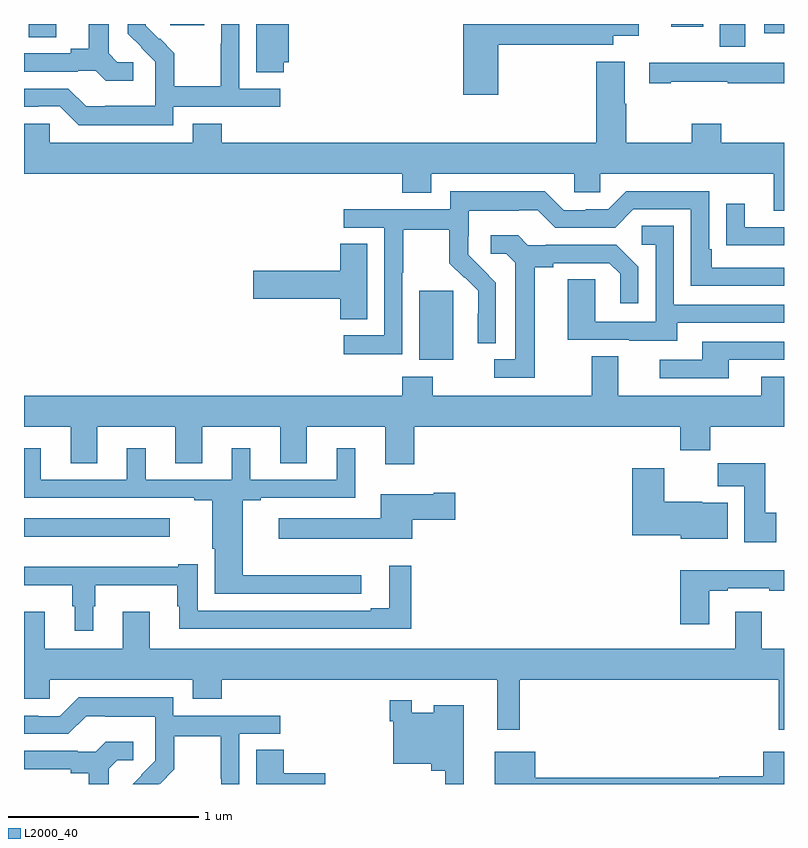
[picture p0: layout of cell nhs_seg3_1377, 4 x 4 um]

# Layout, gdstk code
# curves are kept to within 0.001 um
import gdstk
lib = gdstk.Library(unit=1e-6, precision=1e-09)
def R(c, l, rs):  # rectangles x0, y0, x1, y1
    for r in rs: c.add(gdstk.rectangle(r[:2], r[2:], *l))
def P(c, l, *ps):  # polygons
    for p in ps: c.add(gdstk.Polygon(p, *l))
L2000_40 = (2000, 40)

nhs_seg3_1377 = lib.new_cell('nhs_seg3_1377')
R(nhs_seg3_1377, L2000_40, [(183,669.701,183.766,669.798), (185.081,670.634,185.26,670.995), (186.662,672.28,186.796,672.4), (183.024,672.331,183.169,672.4), (186.896,672.351,187,672.4), (186.407,672.386,186.574,672.4), (183.77,672.393,183.949,672.4)])
P(nhs_seg3_1377, L2000_40, [(184.367,672.198),(184.394,672.198),(184.394,672.4),(184.223,672.4),(184.223,672.145),(184.367,672.145)],
  [(185.495,672.292),(186.102,672.292),(186.102,672.338),(186.235,672.338),(186.235,672.4),(185.312,672.4),(185.312,672.027),(185.495,672.027)],
  [(183.786,671.964),(184.348,671.964),(184.348,672.06),(184.134,672.06),(184.134,672.4),(184.038,672.4),(184.038,672.296),(184.036,672.296),(184.036,672.073),(183.791,672.073),(183.791,672.247),(183.714,672.324),(183.711,672.321),(183.641,672.392),(183.641,672.4),(183.546,672.4),(183.546,672.35),(183.692,672.202),(183.692,672.105),(183.69,672.105),(183.69,671.971),(183.427,671.971),(183.427,671.967),(183.327,671.967),(183.234,672.06),(183,672.06),(183,671.964),(183.074,671.964),(183.074,671.967),(183.189,671.967),(183.289,671.867),(183.786,671.867)],
  [(183.574,672.198),(183.492,672.198),(183.445,672.245),(183.445,672.4),(183.341,672.4),(183.341,672.269),(183.245,672.269),(183.245,672.246),(183,672.246),(183,672.15),(183.284,672.15),(183.284,672.153),(183.378,672.153),(183.43,672.101),(183.574,672.101)],
  [(187,671.776),(186.669,671.776),(186.669,671.875),(186.514,671.875),(186.514,671.776),(186.171,671.776),(186.171,671.981),(186.163,671.981),(186.163,672.202),(186.011,672.202),(186.011,671.776),(184.04,671.776),(184.04,671.875),(183.887,671.875),(183.887,671.776),(183.135,671.776),(183.135,671.874),(183,671.874),(183,671.612),(184.991,671.612),(184.991,671.513),(185.143,671.513),(185.143,671.612),(185.895,671.612),(185.895,671.514),(186.033,671.514),(186.033,671.612),(186.947,671.612),(186.947,671.418),(187,671.418)],
  [(186.403,672.097),(186.703,672.097),(186.703,672.087),(187,672.087),(187,672.196),(186.9,672.196),(186.9,672.195),(186.566,672.195),(186.566,672.197),(186.291,672.197),(186.291,672.087),(186.403,672.087)],
  [(184.992,671.092),(184.995,671.092),(184.995,671.316),(185.239,671.316),(185.239,671.141),(185.316,671.064),(185.319,671.067),(185.39,670.997),(185.39,670.874),(185.388,670.874),(185.388,670.72),(185.484,670.72),(185.484,671.038),(185.338,671.186),(185.338,671.283),(185.34,671.283),(185.34,671.417),(185.603,671.417),(185.603,671.421),(185.703,671.421),(185.796,671.328),(186.111,671.328),(186.207,671.424),(186.51,671.424),(186.51,671.022),(187,671.022),(187,671.118),(186.619,671.118),(186.619,671.215),(186.606,671.215),(186.606,671.52),(186.171,671.52),(186.075,671.424),(185.957,671.424),(185.957,671.421),(185.841,671.421),(185.741,671.521),(185.244,671.521),(185.244,671.424),(184.683,671.424),(184.683,671.328),(184.896,671.328),(184.896,670.761),(184.683,670.761),(184.683,670.663),(184.992,670.663)],
  [(187,671.331),(186.793,671.331),(186.793,671.455),(186.697,671.455),(186.697,671.236),(186.799,671.236),(186.799,671.235),(187,671.235)],
  [(186.439,670.827),(187,670.827),(187,670.923),(186.42,670.923),(186.42,671.339),(186.252,671.339),(186.252,671.238),(186.324,671.238),(186.324,670.833),(186.006,670.833),(186.006,671.057),(185.861,671.057),(185.861,670.737),(186.185,670.737),(186.185,670.733),(186.439,670.733)],
  [(185.689,671.12),(185.785,671.12),(185.785,671.142),(186.08,671.142),(186.137,671.085),(186.137,670.929),(186.234,670.929),(186.234,671.122),(186.118,671.238),(185.746,671.238),(185.746,671.235),(185.652,671.235),(185.6,671.287),(185.457,671.287),(185.457,671.19),(185.538,671.19),(185.585,671.143),(185.585,670.635),(185.475,670.635),(185.475,670.539),(185.689,670.539)],
  [(184.807,671.243),(184.664,671.243),(184.664,671.102),(184.206,671.102),(184.206,670.955),(184.664,670.955),(184.664,670.846),(184.807,670.846)],
  [(186.709,670.632),(187,670.632),(187,670.728),(186.569,670.728),(186.569,670.632),(186.345,670.632),(186.345,670.536),(186.709,670.536)],
  [(185.054,670.28),(186.455,670.28),(186.455,670.156),(186.611,670.156),(186.611,670.28),(187,670.28),(187,670.543),(186.881,670.543),(186.881,670.444),(186.127,670.444),(186.127,670.652),(185.987,670.652),(185.987,670.444),(185.151,670.444),(185.151,670.543),(184.991,670.543),(184.991,670.444),(183,670.444),(183,670.28),(183.245,670.28),(183.245,670.087),(183.385,670.087),(183.385,670.28),(183.797,670.28),(183.797,670.087),(183.937,670.087),(183.937,670.28),(184.349,670.28),(184.349,670.087),(184.489,670.087),(184.489,670.28),(184.901,670.28),(184.901,670.083),(185.054,670.083)],
  [(184.774,669.5),(184.15,669.5),(184.15,669.894),(184.246,669.894),(184.246,669.906),(184.744,669.906),(184.744,670.168),(184.646,670.168),(184.646,670.002),(184.192,670.002),(184.192,670.168),(184.094,670.168),(184.094,670.002),(183.64,670.002),(183.64,670.168),(183.542,670.168),(183.542,670.002),(183.088,670.002),(183.088,670.168),(183,670.168),(183,669.906),(183.896,669.906),(183.896,669.894),(183.992,669.894),(183.992,669.639),(184.004,669.639),(184.004,669.402),(184.774,669.402)],
  [(186.958,669.828),(186.901,669.828),(186.901,670.087),(186.652,670.087),(186.652,669.968),(186.791,669.968),(186.791,669.672),(186.958,669.672)],
  [(186.703,669.88),(186.57,669.88),(186.57,669.886),(186.37,669.886),(186.37,670.063),(186.2,670.063),(186.2,669.71),(186.456,669.71),(186.456,669.692),(186.703,669.692)],
  [(185.044,669.791),(185.269,669.791),(185.269,669.933),(185.156,669.933),(185.156,669.925),(184.877,669.925),(184.877,669.799),(184.341,669.799),(184.341,669.692),(185.044,669.692)],
  [(183.364,669.335),(183.376,669.335),(183.376,669.446),(183.807,669.446),(183.807,669.335),(183.818,669.335),(183.818,669.216),(185.039,669.216),(185.039,669.55),(184.922,669.55),(184.922,669.325),(184.826,669.325),(184.826,669.312),(183.915,669.312),(183.915,669.556),(183.812,669.556),(183.812,669.544),(183,669.544),(183,669.446),(183.255,669.446),(183.255,669.335),(183.266,669.335),(183.266,669.207),(183.364,669.207)],
  [(186.607,669.417),(186.703,669.417),(186.703,669.429),(186.923,669.429),(186.923,669.417),(187,669.417),(187,669.526),(186.455,669.526),(186.455,669.24),(186.607,669.24)],
  [(185.609,668.948),(186.973,668.948),(186.973,668.685),(187,668.685),(187,669.112),(186.883,669.112),(186.883,669.307),(186.743,669.307),(186.743,669.112),(183.661,669.112),(183.661,669.307),(183.521,669.307),(183.521,669.112),(183.109,669.112),(183.109,669.307),(183,669.307),(183,668.85),(183.135,668.85),(183.135,668.948),(183.887,668.948),(183.887,668.849),(184.04,668.849),(184.04,668.948),(185.492,668.948),(185.492,668.685),(185.609,668.685)],
  [(183.711,668.403),(183.714,668.4),(183.791,668.477),(183.791,668.652),(184.036,668.652),(184.036,668.428),(184.038,668.428),(184.038,668.4),(184.134,668.4),(184.134,668.664),(184.348,668.664),(184.348,668.76),(183.786,668.76),(183.786,668.857),(183.289,668.857),(183.189,668.757),(183.074,668.757),(183.074,668.76),(183,668.76),(183,668.664),(183.234,668.664),(183.327,668.757),(183.427,668.757),(183.427,668.753),(183.69,668.753),(183.69,668.619),(183.692,668.619),(183.692,668.522),(183.572,668.4),(183.708,668.4)],
  [(185.314,668.815),(185.156,668.815),(185.156,668.776),(185.04,668.776),(185.04,668.842),(184.924,668.842),(184.924,668.729),(184.944,668.729),(184.944,668.507),(185.144,668.507),(185.144,668.471),(185.217,668.471),(185.217,668.4),(185.314,668.4)],
  [(183.445,668.479),(183.492,668.526),(183.574,668.526),(183.574,668.623),(183.43,668.623),(183.378,668.571),(183.284,668.571),(183.284,668.574),(183,668.574),(183,668.478),(183.245,668.478),(183.245,668.456),(183.341,668.456),(183.341,668.4),(183.445,668.4)],
  [(184.585,668.456),(184.367,668.456),(184.367,668.579),(184.223,668.579),(184.223,668.4),(184.585,668.4)],
  [(187,668.569),(186.89,668.569),(186.89,668.44),(186.66,668.44),(186.66,668.432),(185.692,668.432),(185.692,668.569),(185.477,668.569),(185.477,668.4),(187,668.4)])

lib.write_gds('nhs_seg3_1377.gds')
